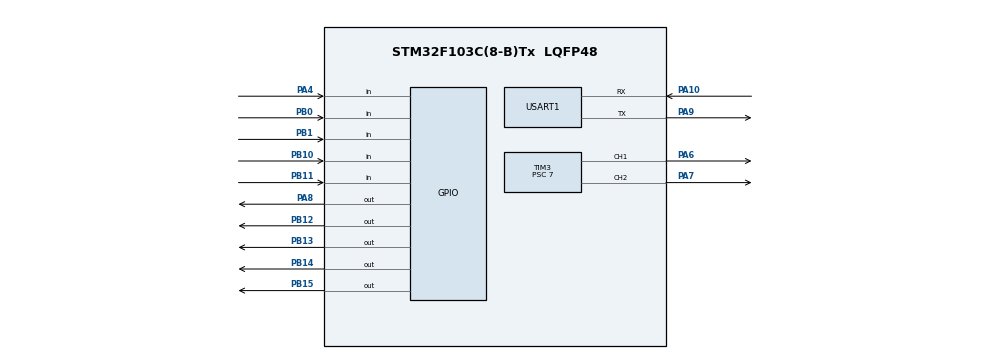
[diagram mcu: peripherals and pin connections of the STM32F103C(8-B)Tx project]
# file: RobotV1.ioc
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Mcu.Family=STM32F1
Mcu.Name=STM32F103C(8-B)Tx
Mcu.Package=LQFP48
NVIC.PriorityGroup=NVIC_PRIORITYGROUP_4
PA10.Mode=Asynchronous
PA10.Signal=USART1_RX
PA13.Mode=Serial_Wire
PA13.Signal=SYS_JTMS-SWDIO
PA14.Mode=Serial_Wire
PA14.Signal=SYS_JTCK-SWCLK
PA4.Signal=GPIO_Input
PA6.Signal=S_TIM3_CH1
PA7.Signal=S_TIM3_CH2
PA8.Signal=GPIO_Output
PA9.Mode=Asynchronous
PA9.Signal=USART1_TX
PB0.Signal=GPIO_Input
PB1.Signal=GPIO_Input
PB10.Signal=GPIO_Input
PB11.Signal=GPIO_Input
PB12.Signal=GPIO_Output
PB13.Signal=GPIO_Output
PB14.Signal=GPIO_Output
PB15.Signal=GPIO_Output
ProjectManager.HeapSize=0x200
ProjectManager.StackSize=0x400
ProjectManager.TargetToolchain=STM32CubeIDE
RCC.APB1Freq_Value=8000000
RCC.APB2Freq_Value=8000000
SH.S_TIM3_CH1.0=TIM3_CH1,PWM Generation1 CH1
SH.S_TIM3_CH2.0=TIM3_CH2,PWM Generation2 CH2
TIM3.Channel-PWM\ Generation1\ CH1=TIM_CHANNEL_1
TIM3.Channel-PWM\ Generation2\ CH2=TIM_CHANNEL_2
TIM3.Period=999
TIM3.Prescaler=7
USART1.VirtualMode=VM_ASYNC
board=custom

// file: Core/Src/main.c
/* USER CODE BEGIN Header */
/**
  ******************************************************************************
  * @file           : main.c
  * @brief          : Main program body
  ******************************************************************************
  * @attention
  *
  * Copyright (c) 2026 STMicroelectronics.
  * All rights reserved.
  *
  * This software is licensed under terms that can be found in the LICENSE file
  * in the root directory of this software component.
  * If no LICENSE file comes with this software, it is provided AS-IS.
  *
  ******************************************************************************
  */
/* USER CODE END Header */
#include "main.h"

/* USER CODE BEGIN Includes */
#include <string.h>
#include <stdbool.h>
#include <stdio.h>
/* USER CODE END Includes */

/* USER CODE BEGIN PD */
#define NODE_COUNT 16
#define QUEUE_SIZE 16
#define RX_BUFFER_SIZE 32
#define EDGE_TIME_MS  5000
#define TURN_TIME_MS   700
/* USER CODE END PD */

TIM_HandleTypeDef htim3;

UART_HandleTypeDef huart1;

const char nodeName[NODE_COUNT] = {
    'S','P','Q','A',
    'R','T','U','V',
    'W','B','X','Y',
    'Z','M','N','C'
};

typedef struct {
    char data[QUEUE_SIZE];
    int front;
    int rear;
    int count;
} TaskQueue;

TaskQueue taskQueue = { .front = 0, .rear = 0, .count = 0 };

uint8_t rxByte;

volatile char rxBuffer[RX_BUFFER_SIZE];
volatile uint8_t rxHead = 0;
volatile uint8_t rxTail = 0;
volatile uint8_t rxOverflow = 0;
volatile char pendingCommand = 0;
volatile uint32_t uartRxCount = 0;

typedef enum {
    NORTH = 0,
    EAST  = 1,
    SOUTH = 2,
    WEST  = 3
} Direction;

Direction robotDir = EAST;
int currentNode = 0;

bool Queue_Push(char destination);
bool Queue_Pop(char *destination);

int NodeIndex(int x, int y);
bool AreNeighbors(int a, int b);
int BFS(int start, int goal, int path[NODE_COUNT]);

bool UART_GetCommand(char *command);
void ProcessIncomingCommands(void);
bool FollowPath(int path[], int pathLength);
int DestinationIndex(char destination);
void ExecuteDelivery(char destination);
bool MoveToNeighbor(int nextNode);
void UART_Print(const char *message);
void PrintQueue(void);

void SystemClock_Config(void);
static void MX_GPIO_Init(void);
static void MX_TIM3_Init(void);
static void MX_USART1_UART_Init(void);

/* USER CODE BEGIN 0 */
void UART_Print(const char *message)
{
    HAL_UART_Transmit(&huart1, (uint8_t *)message, (uint16_t)strlen(message), HAL_MAX_DELAY);
}

void PrintQueue(void)
{
    char message[96];
    int pos = 0;

    pos += snprintf(message + pos,
                    sizeof(message) - (size_t)pos,
                    "QUEUE (%d):", taskQueue.count);

    for (int i = 0; i < taskQueue.count && pos < (int)sizeof(message) - 4; i++)
    {
        int index = (taskQueue.front + i) % QUEUE_SIZE;
        pos += snprintf(message + pos, sizeof(message) - pos, " %c", taskQueue.data[index]);
    }

    if (taskQueue.count == 0)
        pos += snprintf(message + pos, sizeof(message) - pos, " EMPTY");

    snprintf(message + pos, sizeof(message) - pos, "\r\n");
    UART_Print(message);
}

void MotorA_Forward(void)
{
    HAL_GPIO_WritePin(GPIOB, GPIO_PIN_12, GPIO_PIN_SET);
    HAL_GPIO_WritePin(GPIOB, GPIO_PIN_13, GPIO_PIN_RESET);
    __HAL_TIM_SET_COMPARE(&htim3, TIM_CHANNEL_1, 500);
}

void MotorA_Reverse(void)
{
    HAL_GPIO_WritePin(GPIOB, GPIO_PIN_12, GPIO_PIN_RESET);
    HAL_GPIO_WritePin(GPIOB, GPIO_PIN_13, GPIO_PIN_SET);
    __HAL_TIM_SET_COMPARE(&htim3, TIM_CHANNEL_1, 500);
}

void MotorA_Stop(void)
{
    HAL_GPIO_WritePin(GPIOB, GPIO_PIN_12, GPIO_PIN_RESET);
    HAL_GPIO_WritePin(GPIOB, GPIO_PIN_13, GPIO_PIN_RESET);
    __HAL_TIM_SET_COMPARE(&htim3, TIM_CHANNEL_1, 0);
}

void MotorB_Forward(void)
{
    HAL_GPIO_WritePin(GPIOB, GPIO_PIN_14, GPIO_PIN_SET);
    HAL_GPIO_WritePin(GPIOB, GPIO_PIN_15, GPIO_PIN_RESET);
    __HAL_TIM_SET_COMPARE(&htim3, TIM_CHANNEL_2, 500);
}

void MotorB_Reverse(void)
{
    HAL_GPIO_WritePin(GPIOB, GPIO_PIN_14, GPIO_PIN_RESET);
    HAL_GPIO_WritePin(GPIOB, GPIO_PIN_15, GPIO_PIN_SET);
    __HAL_TIM_SET_COMPARE(&htim3, TIM_CHANNEL_2, 500);
}

void MotorB_Stop(void)
{
    HAL_GPIO_WritePin(GPIOB, GPIO_PIN_14, GPIO_PIN_RESET);
    HAL_GPIO_WritePin(GPIOB, GPIO_PIN_15, GPIO_PIN_RESET);
    __HAL_TIM_SET_COMPARE(&htim3, TIM_CHANNEL_2, 0);
}

void Robot_Forward(void)
{
    MotorA_Forward();
    MotorB_Forward();
}

void Robot_Reverse(void)
{
    MotorA_Reverse();
    MotorB_Reverse();
}

void Robot_Stop(void)
{
    MotorA_Stop();
    MotorB_Stop();
}

void Robot_TurnLeft(void)
{
    MotorA_Stop();
    MotorB_Forward();
}

void Robot_TurnRight(void)
{
    MotorA_Forward();
    MotorB_Stop();
}

void TurnLeftTimed(void)
{
    Robot_TurnLeft();
    HAL_Delay(TURN_TIME_MS);
    Robot_Stop();
    HAL_Delay(200);

    robotDir = (Direction)((robotDir + 3) % 4);
}

void TurnRightTimed(void)
{
    Robot_TurnRight();
    HAL_Delay(TURN_TIME_MS);
    Robot_Stop();
    HAL_Delay(200);

    robotDir = (Direction)((robotDir + 1) % 4);
}

void TurnAroundTimed(void)
{
    TurnRightTimed();
    TurnRightTimed();
}

void MoveOneEdge(void)
{
    Robot_Forward();
    HAL_Delay(EDGE_TIME_MS);
    Robot_Stop();
    HAL_Delay(200);
}

bool Queue_Push(char destination)
{
    if (taskQueue.count >= QUEUE_SIZE)
        return false;

    if (destination != 'A' &&
        destination != 'B' &&
        destination != 'C')
        return false;

    taskQueue.data[taskQueue.rear] = destination;
    taskQueue.rear = (taskQueue.rear + 1) % QUEUE_SIZE;
    taskQueue.count++;

    return true;
}

bool Queue_Pop(char *destination)
{
    if (taskQueue.count == 0)
        return false;

    *destination = taskQueue.data[taskQueue.front];
    taskQueue.front = (taskQueue.front + 1) % QUEUE_SIZE;
    taskQueue.count--;

    return true;
}

int NodeIndex(int x, int y)
{
    return y * 4 + x;
}

bool AreNeighbors(int a, int b)
{
    int ax = a % 4, ay = a / 4;
    int bx = b % 4, by = b / 4;

    int fin_x = (ax - bx) > 0 ? (ax - bx) : (bx - ax);
    int fin_y = (ay - by) > 0 ? (ay - by) : (by - ay);

    return ((fin_x + fin_y) == 1);
}

// path[] nhận danh sách nút từ start đến goal.
// Giá trị trả về là số nút trong đường đi; 0 nếu thất bại.

int BFS(int start, int goal, int path[NODE_COUNT])
{
    int queue[NODE_COUNT];
    int parent[NODE_COUNT];
    bool visited[NODE_COUNT] = { false };

    for (int i = 0; i < NODE_COUNT; i++)
        parent[i] = -1;

    int head = 0, tail = 0;

    queue[tail++] = start;
    visited[start] = true;

    while (head < tail)
    {
        int current = queue[head++];

        if (current == goal)
            break;

        for (int next = 0; next < NODE_COUNT; next++)
        {
            if (AreNeighbors(current, next) &&
                !visited[next])
            {
                visited[next] = true;
                parent[next] = current;
                queue[tail++] = next;
            }
        }
    }

    if (!visited[goal])
        return 0;

    int reversePath[NODE_COUNT];
    int count = 0;

    for (int node = goal; node != -1; node = parent[node])
        reversePath[count++] = node;

    for (int i = 0; i < count; i++)
        path[i] = reversePath[count - 1 - i];

    return count;
}

bool UART_GetCommand(char *command)
{
    if (rxTail == rxHead)
        return false;

    *command = rxBuffer[rxTail];
    rxTail = (rxTail + 1) % RX_BUFFER_SIZE;

    return true;
}

void ProcessIncomingCommands(void)
{
    char command;

    while (UART_GetCommand(&command))
    {
        char message[64];

        if (Queue_Push(command))
        {
            snprintf(message, sizeof(message), "\r\nDa nhan diem den: %c\r\n", command);
            UART_Print(message);
            PrintQueue();
        }
        else
        {
            snprintf(message, sizeof(message), "\r\nLOI: khong them duoc diem %c (queue day/lenh khong hop le).\r\n", command);
            UART_Print(message);
            PrintQueue();
        }
    }
}

bool FollowPath(int path[], int pathLength)
{
    if (pathLength <= 0)
        return false;

    if (path[0] != currentNode)
        return false;

    for (int i = 1; i < pathLength; i++)
    {
        if (!MoveToNeighbor(path[i]))
        {
        	Robot_Stop();
            return false;
        }
    }

    Robot_Stop();
    return true;
}

int DestinationIndex(char destination)
{
    for (int i = 0; i < NODE_COUNT; i++)
    {
        if (nodeName[i] == destination)
            return i;
    }

    return -1;
}

void ExecuteDelivery(char destination)
{
    int path[NODE_COUNT];

    int target = DestinationIndex(destination);

    if (target < 0)
        return;

    {
        char message[64];
        snprintf(message, sizeof(message), "\r\nBat dau giao den %c tu vi tri %c.\r\n",
                 destination, nodeName[currentNode]);
        UART_Print(message);
    }

    // Từ vị trí hiện tại đến điểm giao hàng.
    int length = BFS(currentNode, target, path);

    if (length == 0 || !FollowPath(path, length))
    {
        Robot_Stop();
        UART_Print("\r\nLOI: khong the di den diem dich.\r\n");
        return;
    }

    // Dừng tại điểm giao hàng.
    Robot_Stop();
    {
        char message[64];
        snprintf(message, sizeof(message), "\r\nDA DEN DIEM %c.\r\n", nodeName[currentNode]);
        UART_Print(message);
    }
    HAL_Delay(1000);

    // Tìm đường từ điểm giao hàng về S.
    length = BFS(currentNode, 0, path);

    if (length == 0 || !FollowPath(path, length))
    {
        Robot_Stop();
        UART_Print("\r\nLOI: khong the quay ve diem S.\r\n");
        return;
    }

    Robot_Stop();
    UART_Print("\r\nDa quay ve diem S.\r\n");
}

bool MoveToNeighbor(int nextNode)
{
    // Kiểm tra chỉ số nút hợp lệ
    if (nextNode < 0 || nextNode >= NODE_COUNT)
        return false;

    // Chỉ được di chuyển đến nút liền kề
    if (!AreNeighbors(currentNode, nextNode))
        return false;

    int x1 = currentNode % 4;
    int y1 = currentNode / 4;

    int x2 = nextNode % 4;
    int y2 = nextNode / 4;

    Direction requiredDir;

    // Xác định hướng cần đi
    if (x2 > x1)
        requiredDir = EAST;
    else if (x2 < x1)
        requiredDir = WEST;
    else if (y2 > y1)
        requiredDir = SOUTH;
    else
        requiredDir = NORTH;

    // Tính góc xoay cần thiết
    int diff = (requiredDir - robotDir + 4) % 4;

    if (diff == 1)
    {
        TurnRightTimed();
    }
    else if (diff == 3)
    {
        TurnLeftTimed();
    }
    else if (diff == 2)
    {
        TurnAroundTimed();
    }

    // Đi thẳng đến nút kế tiếp
    MoveOneEdge();

    // Cập nhật vị trí theo lộ trình dự kiến
    currentNode = nextNode;

    {
        char message[64];
        snprintf(message, sizeof(message), "Da den nut: %c\r\n", nodeName[currentNode]);
        UART_Print(message);
    }

    return true;
}

/* USER CODE END 0 */

int main(void)
{

  /* MCU Configuration--------------------------------------------------------*/

  /* Reset of all peripherals, Initializes the Flash interface and the Systick. */
  HAL_Init();

  /* Configure the system clock */
  SystemClock_Config();

  /* Initialize all configured peripherals */
  MX_GPIO_Init();
  MX_TIM3_Init();
  MX_USART1_UART_Init();
  HAL_UART_Receive_IT(&huart1, &rxByte, 1);
  /* USER CODE BEGIN 2 */
  HAL_GPIO_WritePin(GPIOA, GPIO_PIN_8, GPIO_PIN_SET);

  HAL_TIM_PWM_Start(&htim3, TIM_CHANNEL_1);
  HAL_TIM_PWM_Start(&htim3, TIM_CHANNEL_2);

  Robot_Stop();
  /* USER CODE END 2 */

  /* Infinite loop */
  while (1)
  {
	  ProcessIncomingCommands();

	      if (currentNode == 0)
	      {
	          char destination;

	          if (Queue_Pop(&destination))
	          {
	              ExecuteDelivery(destination);
	          }
	          else
	          {
	              Robot_Stop();
	          }
	      }

	  HAL_Delay(10);

//	  GPIO_PinState L = HAL_GPIO_ReadPin(GPIOB, GPIO_PIN_0);
//	  GPIO_PinState C = HAL_GPIO_ReadPin(GPIOB, GPIO_PIN_1);
//	  GPIO_PinState R = HAL_GPIO_ReadPin(GPIOB, GPIO_PIN_10);
//
//	  if (L == GPIO_PIN_SET &&
//	      C == GPIO_PIN_SET &&
//	      R == GPIO_PIN_SET) // Ngã tư
//	  {
//	      // Tạm dừng để kiểm thử trạng thái giao lộ
//	      Robot_Stop();
//	  }
//	  else if (L == GPIO_PIN_SET &&
//	  	       C == GPIO_PIN_RESET &&
//	  	       R == GPIO_PIN_SET) // Ngã 3 trái phải
//	  {
//	  	  // Tạm dừng để kiểm thử trạng thái giao lộ
//	  	  Robot_Stop();
//	  }
//	  else if (L == GPIO_PIN_RESET &&
//	           C == GPIO_PIN_SET &&
//	           R == GPIO_PIN_RESET) // Đi thẳng
//	  {
//	      Robot_Forward();
//	  }
//	  else if (L == GPIO_PIN_SET &&
//			   C == GPIO_PIN_SET &&
//			   R == GPIO_PIN_RESET) // Ngã 3 trái thẳng
//
//	  {
//	      Robot_TurnLeft();
//	  }
//	  else if (L == GPIO_PIN_RESET &&
//	  		   C == GPIO_PIN_SET &&
//	  		   R == GPIO_PIN_SET) // Ngã 3 phải thẳng
//
//	  {
//	  	  Robot_TurnRight();
//	  }
//	  else if (L == GPIO_PIN_SET &&
//	  		   C == GPIO_PIN_RESET &&
//	  		   R == GPIO_PIN_RESET) // Rẽ trái
//
//	  {
//	      Robot_TurnLeft();
//	  }
//	  else if (L == GPIO_PIN_RESET &&
//	  		   C == GPIO_PIN_RESET &&
//	  		   R == GPIO_PIN_SET) // Rẽ phải
//
//	  {
//	      Robot_TurnRight();
//	  }
//	  else
//	  {
//	      Robot_Stop();
//	  }
//
//	  HAL_Delay(20);
  }
}

void SystemClock_Config(void)
{
  RCC_OscInitTypeDef RCC_OscInitStruct = {0};
  RCC_ClkInitTypeDef RCC_ClkInitStruct = {0};

  /** Initializes the RCC Oscillators according to the specified parameters
  * in the RCC_OscInitTypeDef structure.
  */
  RCC_OscInitStruct.OscillatorType = RCC_OSCILLATORTYPE_HSI;
  RCC_OscInitStruct.HSIState = RCC_HSI_ON;
  RCC_OscInitStruct.HSICalibrationValue = RCC_HSICALIBRATION_DEFAULT;
  RCC_OscInitStruct.PLL.PLLState = RCC_PLL_NONE;
  if (HAL_RCC_OscConfig(&RCC_OscInitStruct) != HAL_OK)
  {
    Error_Handler();
  }

  /** Initializes the CPU, AHB and APB buses clocks
  */
  RCC_ClkInitStruct.ClockType = RCC_CLOCKTYPE_HCLK|RCC_CLOCKTYPE_SYSCLK
                              |RCC_CLOCKTYPE_PCLK1|RCC_CLOCKTYPE_PCLK2;
  RCC_ClkInitStruct.SYSCLKSource = RCC_SYSCLKSOURCE_HSI;
  RCC_ClkInitStruct.AHBCLKDivider = RCC_SYSCLK_DIV1;
  RCC_ClkInitStruct.APB1CLKDivider = RCC_HCLK_DIV1;
  RCC_ClkInitStruct.APB2CLKDivider = RCC_HCLK_DIV1;

  if (HAL_RCC_ClockConfig(&RCC_ClkInitStruct, FLASH_LATENCY_0) != HAL_OK)
  {
    Error_Handler();
  }
}

static void MX_TIM3_Init(void)
{

  TIM_MasterConfigTypeDef sMasterConfig = {0};
  TIM_OC_InitTypeDef sConfigOC = {0};

  htim3.Instance = TIM3;
  htim3.Init.Prescaler = 7;
  htim3.Init.CounterMode = TIM_COUNTERMODE_UP;
  htim3.Init.Period = 999;
  htim3.Init.ClockDivision = TIM_CLOCKDIVISION_DIV1;
  htim3.Init.AutoReloadPreload = TIM_AUTORELOAD_PRELOAD_DISABLE;
  if (HAL_TIM_PWM_Init(&htim3) != HAL_OK)
  {
    Error_Handler();
  }
  sMasterConfig.MasterOutputTrigger = TIM_TRGO_RESET;
  sMasterConfig.MasterSlaveMode = TIM_MASTERSLAVEMODE_DISABLE;
  if (HAL_TIMEx_MasterConfigSynchronization(&htim3, &sMasterConfig) != HAL_OK)
  {
    Error_Handler();
  }
  sConfigOC.OCMode = TIM_OCMODE_PWM1;
  sConfigOC.Pulse = 0;
  sConfigOC.OCPolarity = TIM_OCPOLARITY_HIGH;
  sConfigOC.OCFastMode = TIM_OCFAST_DISABLE;
  if (HAL_TIM_PWM_ConfigChannel(&htim3, &sConfigOC, TIM_CHANNEL_1) != HAL_OK)
  {
    Error_Handler();
  }
  if (HAL_TIM_PWM_ConfigChannel(&htim3, &sConfigOC, TIM_CHANNEL_2) != HAL_OK)
  {
    Error_Handler();
  }
  HAL_TIM_MspPostInit(&htim3);

}

static void MX_USART1_UART_Init(void)
{

  huart1.Instance = USART1;
  huart1.Init.BaudRate = 115200;
  huart1.Init.WordLength = UART_WORDLENGTH_8B;
  huart1.Init.StopBits = UART_STOPBITS_1;
  huart1.Init.Parity = UART_PARITY_NONE;
  huart1.Init.Mode = UART_MODE_TX_RX;
  huart1.Init.HwFlowCtl = UART_HWCONTROL_NONE;
  huart1.Init.OverSampling = UART_OVERSAMPLING_16;
  if (HAL_UART_Init(&huart1) != HAL_OK)
  {
    Error_Handler();
  }

}

static void MX_GPIO_Init(void)
{
  GPIO_InitTypeDef GPIO_InitStruct = {0};

  /* GPIO Ports Clock Enable */
  __HAL_RCC_GPIOA_CLK_ENABLE();
  __HAL_RCC_GPIOB_CLK_ENABLE();

  /*Configure GPIO pin Output Level */
  HAL_GPIO_WritePin(GPIOB, GPIO_PIN_12|GPIO_PIN_13|GPIO_PIN_14|GPIO_PIN_15, GPIO_PIN_RESET);

  /*Configure GPIO pin Output Level */
  HAL_GPIO_WritePin(GPIOA, GPIO_PIN_8, GPIO_PIN_RESET);

  /*Configure GPIO pin : PA4 */
  GPIO_InitStruct.Pin = GPIO_PIN_4;
  GPIO_InitStruct.Mode = GPIO_MODE_INPUT;
  GPIO_InitStruct.Pull = GPIO_NOPULL;
  HAL_GPIO_Init(GPIOA, &GPIO_InitStruct);

  /*Configure GPIO pins : PB0 PB1 PB10 PB11 */
  GPIO_InitStruct.Pin = GPIO_PIN_0|GPIO_PIN_1|GPIO_PIN_10|GPIO_PIN_11;
  GPIO_InitStruct.Mode = GPIO_MODE_INPUT;
  GPIO_InitStruct.Pull = GPIO_NOPULL;
  HAL_GPIO_Init(GPIOB, &GPIO_InitStruct);

  /*Configure GPIO pins : PB12 PB13 PB14 PB15 */
  GPIO_InitStruct.Pin = GPIO_PIN_12|GPIO_PIN_13|GPIO_PIN_14|GPIO_PIN_15;
  GPIO_InitStruct.Mode = GPIO_MODE_OUTPUT_PP;
  GPIO_InitStruct.Pull = GPIO_NOPULL;
  GPIO_InitStruct.Speed = GPIO_SPEED_FREQ_LOW;
  HAL_GPIO_Init(GPIOB, &GPIO_InitStruct);

  /*Configure GPIO pin : PA8 */
  GPIO_InitStruct.Pin = GPIO_PIN_8;
  GPIO_InitStruct.Mode = GPIO_MODE_OUTPUT_PP;
  GPIO_InitStruct.Pull = GPIO_NOPULL;
  GPIO_InitStruct.Speed = GPIO_SPEED_FREQ_LOW;
  HAL_GPIO_Init(GPIOA, &GPIO_InitStruct);

}

/* USER CODE BEGIN 4 */
void HAL_UART_RxCpltCallback(UART_HandleTypeDef *huart)
{
    if (huart->Instance == USART1)
    {
        char c = (char)rxByte;
        uartRxCount++;

        /* Echo ký tự nhận được về Virtual Terminal để kiểm tra UART */
        HAL_UART_Transmit(&huart1, (uint8_t *)&c, 1, 10);

        if (c >= 'a' && c <= 'z')
            c = (char)(c - ('a' - 'A'));

        if (c == 'A' || c == 'B' || c == 'C')
        {
            uint8_t next = (uint8_t)((rxHead + 1U) % RX_BUFFER_SIZE);
            if (next != rxTail)
            {
                rxBuffer[rxHead] = c;
                rxHead = next;
            }
            else
            {
                rxOverflow = 1;
            }
        }
        HAL_UART_Receive_IT(&huart1, &rxByte, 1);
    }
}

void HAL_UART_ErrorCallback(UART_HandleTypeDef *huart)
{
    if (huart->Instance == USART1)
    {
        HAL_UART_Receive_IT(&huart1, &rxByte, 1);
    }
}
/* USER CODE END 4 */

void Error_Handler(void)
{
  __disable_irq();
  while (1)
  {
  }
}
